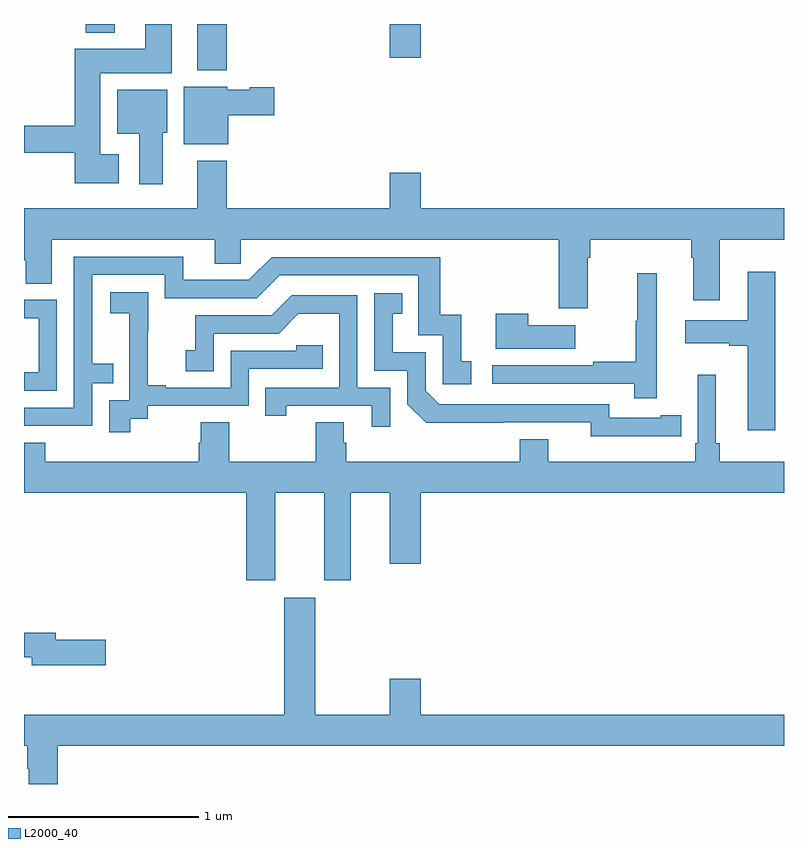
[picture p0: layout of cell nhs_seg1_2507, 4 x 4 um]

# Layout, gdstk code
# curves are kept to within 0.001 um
import gdstk
lib = gdstk.Library(unit=1e-6, precision=1e-09)
def R(c, l, rs):  # rectangles x0, y0, x1, y1
    for r in rs: c.add(gdstk.rectangle(r[:2], r[2:], *l))
def P(c, l, *ps):  # polygons
    for p in ps: c.add(gdstk.Polygon(p, *l))
L2000_40 = (2000, 40)

nhs_seg1_2507 = lib.new_cell('nhs_seg1_2507')
R(nhs_seg1_2507, L2000_40, [(247.913,553.955,248.066,554.199), (248.924,554.022,249.088,554.199), (247.325,554.153,247.477,554.199)])
P(nhs_seg1_2507, L2000_40, [(247.498,553.513),(247.402,553.513),(247.402,553.94),(247.777,553.94),(247.777,554.199),(247.637,554.199),(247.637,554.068),(247.268,554.068),(247.268,553.664),(247,553.664),(247,553.522),(247.268,553.522),(247.268,553.361),(247.498,553.361)],
  [(248.074,553.718),(248.317,553.718),(248.317,553.865),(248.187,553.865),(248.187,553.852),(248.07,553.852),(248.07,553.87),(247.841,553.87),(247.841,553.565),(248.074,553.565)],
  [(247.729,553.626),(247.753,553.626),(247.753,553.852),(247.49,553.852),(247.49,553.622),(247.607,553.622),(247.607,553.356),(247.729,553.356)],
  [(249.967,552.968),(249.98,552.968),(249.98,553.064),(250.511,553.064),(250.511,552.968),(250.523,552.968),(250.523,552.744),(250.663,552.744),(250.663,553.064),(251,553.064),(251,553.228),(249.088,553.228),(249.088,553.417),(248.924,553.417),(248.924,553.228),(248.066,553.228),(248.066,553.48),(247.913,553.48),(247.913,553.228),(247,553.228),(247,552.955),(247.008,552.955),(247.008,552.832),(247.147,552.832),(247.147,553.064),(248.003,553.064),(248.003,552.937),(248.142,552.937),(248.142,553.064),(249.815,553.064),(249.815,552.702),(249.967,552.702)],
  [(247.359,552.309),(247.469,552.309),(247.469,552.41),(247.359,552.41),(247.359,552.879),(247.74,552.879),(247.74,552.756),(248.226,552.756),(248.346,552.876),(249.075,552.876),(249.075,552.561),(249.204,552.561),(249.204,552.303),(249.355,552.303),(249.355,552.423),(249.302,552.423),(249.302,552.67),(249.191,552.67),(249.191,552.972),(248.304,552.972),(248.184,552.852),(247.837,552.852),(247.837,552.975),(247.263,552.975),(247.263,552.18),(247,552.18),(247,552.084),(247.359,552.084)],
  [(250.954,552.895),(250.808,552.895),(250.808,552.64),(250.479,552.64),(250.479,552.518),(250.712,552.518),(250.712,552.506),(250.808,552.506),(250.808,552.06),(250.954,552.06)],
  [(250.33,552.886),(250.228,552.886),(250.228,552.636),(250.221,552.636),(250.221,552.422),(249.997,552.422),(249.997,552.402),(249.465,552.402),(249.465,552.306),(250.213,552.306),(250.213,552.228),(250.33,552.228)],
  [(247.558,552.121),(247.65,552.121),(247.65,552.189),(248.184,552.189),(248.184,552.384),(248.573,552.384),(248.573,552.507),(248.433,552.507),(248.433,552.48),(248.088,552.48),(248.088,552.285),(247.747,552.285),(247.747,552.298),(247.652,552.298),(247.652,552.581),(247.653,552.581),(247.653,552.787),(247.455,552.787),(247.455,552.677),(247.553,552.677),(247.553,552.449),(247.554,552.449),(247.554,552.219),(247.449,552.219),(247.449,552.051),(247.558,552.051)],
  [(250.352,552.03),(250.46,552.03),(250.46,552.139),(250.352,552.139),(250.352,552.126),(250.08,552.126),(250.08,552.198),(249.186,552.198),(249.114,552.27),(249.114,552.471),(248.941,552.471),(248.941,552.675),(248.99,552.675),(248.99,552.781),(248.844,552.781),(248.844,552.375),(249.018,552.375),(249.018,552.198),(249.116,552.101),(249.984,552.102),(249.984,552.029)],
  [(248.928,552.285),(248.754,552.285),(248.754,552.771),(248.408,552.771),(248.303,552.666),(247.9,552.666),(247.9,552.481),(247.851,552.481),(247.851,552.372),(247.998,552.372),(247.998,552.57),(248.34,552.57),(248.444,552.674),(248.658,552.674),(248.658,552.285),(248.269,552.285),(248.269,552.138),(248.38,552.138),(248.38,552.189),(248.831,552.189),(248.831,552.078),(248.928,552.078)],
  [(247.173,552.747),(247,552.747),(247,552.651),(247.077,552.651),(247.077,552.366),(247,552.366),(247,552.27),(247.173,552.27)],
  [(249.901,552.613),(249.653,552.613),(249.653,552.673),(249.482,552.673),(249.482,552.491),(249.901,552.491)],
  [(248.323,551.732),(248.579,551.732),(248.579,551.271),(248.719,551.271),(248.719,551.732),(248.924,551.732),(248.924,551.358),(249.088,551.358),(249.088,551.732),(251,551.732),(251,551.896),(250.661,551.896),(250.661,551.992),(250.642,551.992),(250.642,552.352),(250.545,552.352),(250.545,551.992),(250.532,551.992),(250.532,551.896),(249.76,551.896),(249.76,552.013),(249.608,552.013),(249.608,551.896),(248.696,551.896),(248.696,551.994),(248.683,551.994),(248.683,552.104),(248.536,552.104),(248.536,551.896),(248.079,551.896),(248.079,552.104),(247.931,552.104),(247.931,551.994),(247.919,551.994),(247.919,551.896),(247.112,551.896),(247.112,551.995),(247,551.995),(247,551.732),(248.171,551.732),(248.171,551.271),(248.323,551.271)],
  [(247.178,550.4),(251,550.4),(251,550.564),(249.088,550.564),(249.088,550.753),(248.924,550.753),(248.924,550.564),(248.533,550.564),(248.533,551.179),(248.369,551.179),(248.369,550.564),(247,550.564),(247,550.4),(247.018,550.4),(247.018,550.28),(247.025,550.28),(247.025,550.199),(247.178,550.199)],
  [(247.429,550.958),(247.168,550.958),(247.168,550.994),(247,550.994),(247,550.866),(247.04,550.866),(247.04,550.823),(247.429,550.823)])

lib.write_gds('nhs_seg1_2507.gds')
